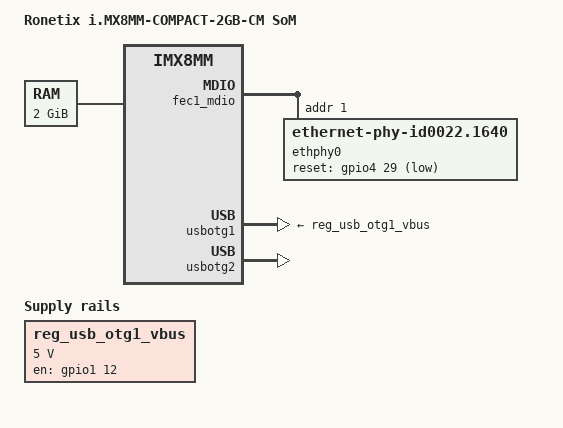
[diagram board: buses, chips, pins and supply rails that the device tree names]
// SPDX-License-Identifier: (GPL-2.0+ OR MIT)
/*
 * Copyright 2021-2026 Ronetix GmbH
 */

/dts-v1/;

#include <dt-bindings/usb/pd.h>
#include "imx8mm.dtsi"
#include "imx8mm-ronetix.dtsi"

/ {
	model = "Ronetix i.MX8MM-COMPACT-2GB-CM SoM";
	compatible = "ronetix,imx8mm-compact-2gb-cm", "fsl,imx8mm";

	memory@40000000 {
		device_type = "memory";
		reg = <0x0 0x40000000 0 0x80000000>;
	};

	reserved-memory {
		#address-cells = <2>;
		#size-cells = <2>;
		ranges;

		/* global autoconfigured region for contiguous allocations */
		linux,cma {
			compatible = "shared-dma-pool";
			reusable;
			size = <0 0x04000000>;	/* 64 MiB */
			alloc-ranges = <0 0x40000000 0 0x40000000>;
			linux,cma-default;
		};
	};

	reg_usb_otg1_vbus: regulator-usb-otg1-vbus {
		compatible = "regulator-fixed";
		pinctrl-names = "default";
		pinctrl-0 = <&pinctrl_usb_otg1_vbus_reg>;
		regulator-name = "usb_otg1_vbus";
		regulator-min-microvolt = <5000000>;
		regulator-max-microvolt = <5000000>;
		gpio = <&gpio1 12 GPIO_ACTIVE_HIGH>;
		enable-active-high;
	};
};

&fec1_mdio {
	/* KSZ9131RNX */
	ethphy0: ethernet-phy@1 {
		compatible = "ethernet-phy-id0022.1640",
			     "ethernet-phy-ieee802.3-c22";
		reg = <1>;
		reset-gpios = <&gpio4 29 GPIO_ACTIVE_LOW>;
		reset-assert-us = <10000>;
		reset-deassert-us = <50000>;
		rxc-skew-psec = <2400>;
		txc-skew-psec = <2400>;
		rxdv-skew-psec = <0>;
		txen-skew-psec = <0>;
		rxd0-skew-psec = <0>;
		rxd1-skew-psec = <0>;
		rxd2-skew-psec = <0>;
		rxd3-skew-psec = <0>;
		txd0-skew-psec = <0>;
		txd1-skew-psec = <0>;
		txd2-skew-psec = <0>;
		txd3-skew-psec = <0>;
	};
};

&usbotg1 {
	vbus-supply = <&reg_usb_otg1_vbus>;
	status = "okay";
};

&usbotg2 {
	status = "okay";
};

&iomuxc {
	pinctrl_pcie0: pcie0grp {
		fsl,pins = <
			MX8MM_IOMUXC_I2C4_SCL_PCIE1_CLKREQ_B		0x61	/* PCIe_CLKREQ, open drain, pull up */
			MX8MM_IOMUXC_GPIO1_IO09_GPIO1_IO9		0x41	/* PCIe_nDIS */
			MX8MM_IOMUXC_SAI2_RXFS_GPIO4_IO21		0x41	/* PCIe_nRST */
		>;
	};

	pinctrl_usb_otg1_vbus_reg: usbotg1vbusreggrp {
		fsl,pins = <
			MX8MM_IOMUXC_GPIO1_IO12_GPIO1_IO12		0x19
		>;
	};
};
